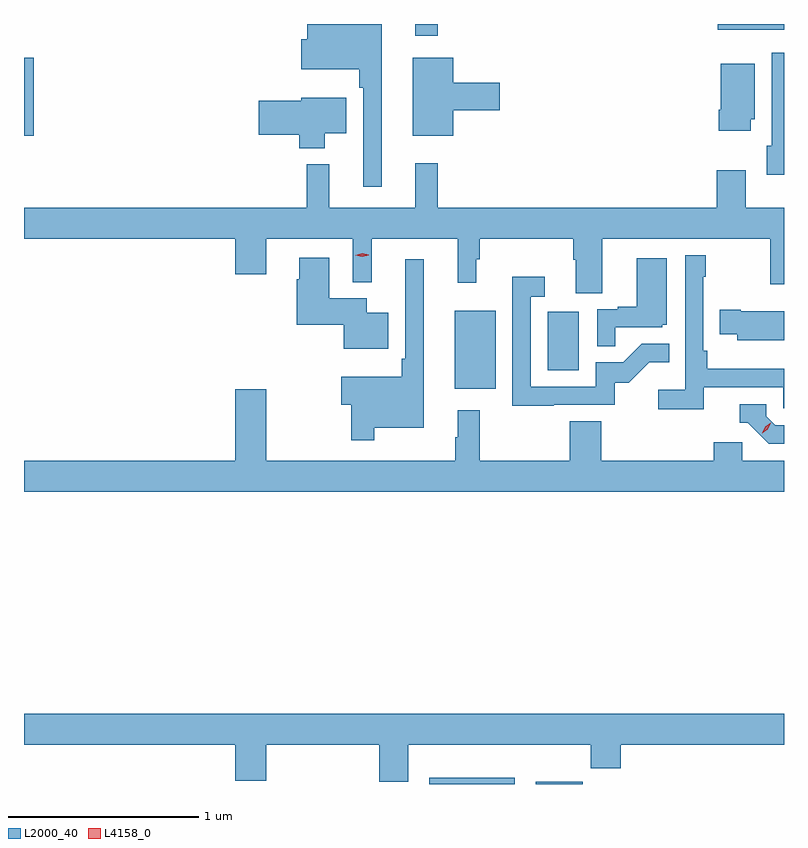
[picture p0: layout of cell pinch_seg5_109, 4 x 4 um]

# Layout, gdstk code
import gdstk
lib = gdstk.Library(unit=1e-6, precision=1e-09)
def R(c, l, rs):  # rectangles x0, y0, x1, y1
    for r in rs: c.add(gdstk.rectangle(r[:2], r[2:], *l))
def P(c, l, *ps):  # polygons
    for p in ps: c.add(gdstk.Polygon(p, *l))
L2000_40 = (2000, 40)
L4158_0 = (4158, 0)

pinch_seg5_109 = lib.new_cell('pinch_seg5_109')
R(pinch_seg5_109, L2000_40, [(1029.164,877.866,1029.616,877.9), (1029.725,877.866,1029.974,877.879), (1029.299,879.947,1029.514,880.357), (1029.788,880.044,1029.952,880.351), (1027.032,881.279,1027.084,881.689), (1029.092,881.805,1029.209,881.866), (1030.683,881.835,1031.032,881.866)])
P(pinch_seg5_109, L2000_40, [(1028.914,881.866),(1028.524,881.866),(1028.524,881.785),(1028.49,881.785),(1028.49,881.627),(1028.797,881.627),(1028.797,881.531),(1028.817,881.531),(1028.817,881.01),(1028.914,881.01)],
  [(1031.032,881.716),(1030.967,881.716),(1030.967,881.226),(1030.94,881.226),(1030.94,881.072),(1031.032,881.072)],
  [(1029.292,881.411),(1029.535,881.411),(1029.535,881.558),(1029.292,881.558),(1029.292,881.689),(1029.077,881.689),(1029.077,881.279),(1029.292,881.279)],
  [(1030.858,881.364),(1030.879,881.364),(1030.879,881.656),(1030.7,881.656),(1030.7,881.416),(1030.688,881.416),(1030.688,881.304),(1030.858,881.304)],
  [(1028.614,881.291),(1028.728,881.291),(1028.728,881.479),(1028.492,881.479),(1028.492,881.462),(1028.268,881.462),(1028.268,881.284),(1028.48,881.284),(1028.48,881.213),(1028.614,881.213)],
  [(1028.639,881.128),(1028.521,881.128),(1028.521,880.9),(1027.032,880.9),(1027.032,880.736),(1028.144,880.736),(1028.144,880.548),(1028.308,880.548),(1028.308,880.736),(1028.763,880.736),(1028.763,880.508),(1028.861,880.508),(1028.861,880.736),(1029.314,880.736),(1029.314,880.503),(1029.413,880.503),(1029.413,880.628),(1029.431,880.628),(1029.431,880.736),(1029.923,880.736),(1029.923,880.624),(1029.935,880.624),(1029.935,880.45),(1030.075,880.45),(1030.075,880.736),(1030.96,880.736),(1030.96,880.497),(1031.032,880.497),(1031.032,880.9),(1030.831,880.9),(1030.831,881.095),(1030.679,881.095),(1030.679,880.9),(1029.209,880.9),(1029.209,881.134),(1029.092,881.134),(1029.092,880.9),(1028.639,880.9)],
  [(1030.61,879.954),(1031.028,879.954),(1031.028,879.843),(1031.032,879.843),(1031.032,880.051),(1030.628,880.051),(1030.628,880.147),(1030.608,880.147),(1030.608,880.535),(1030.621,880.535),(1030.621,880.648),(1030.512,880.648),(1030.512,879.94),(1030.371,879.94),(1030.371,879.838),(1030.61,879.838)],
  [(1028.95,880.345),(1028.836,880.345),(1028.836,880.423),(1028.638,880.423),(1028.638,880.636),(1028.48,880.636),(1028.48,880.523),(1028.468,880.523),(1028.468,880.283),(1028.714,880.283),(1028.714,880.157),(1028.95,880.157)],
  [(1030.145,880.269),(1030.392,880.269),(1030.392,880.284),(1030.414,880.284),(1030.414,880.633),(1030.256,880.633),(1030.256,880.378),(1030.157,880.378),(1030.157,880.365),(1030.05,880.365),(1030.05,880.171),(1030.145,880.171)],
  [(1028.875,879.74),(1029.136,879.74),(1029.136,880.627),(1029.039,880.627),(1029.039,880.105),(1029.019,880.105),(1029.019,880.009),(1028.702,880.009),(1028.702,879.862),(1028.754,879.862),(1028.754,879.675),(1028.875,879.675)],
  [(1029.821,879.861),(1030.14,879.861),(1030.14,879.978),(1030.216,879.978),(1030.323,880.085),(1030.427,880.085),(1030.427,880.184),(1030.283,880.184),(1030.185,880.086),(1030.041,880.086),(1030.041,879.957),(1029.699,879.957),(1029.699,880.431),(1029.772,880.431),(1029.772,880.537),(1029.603,880.537),(1029.603,879.856),(1029.821,879.856)],
  [(1031.032,880.354),(1030.804,880.354),(1030.804,880.362),(1030.693,880.362),(1030.693,880.232),(1030.787,880.232),(1030.787,880.202),(1031.032,880.202)],
  [(1031.032,879.568),(1030.812,879.568),(1030.812,879.666),(1030.661,879.666),(1030.661,879.568),(1030.07,879.568),(1030.07,879.776),(1029.905,879.776),(1029.905,879.568),(1029.431,879.568),(1029.431,879.832),(1029.314,879.832),(1029.314,879.692),(1029.303,879.692),(1029.303,879.568),(1028.308,879.568),(1028.308,879.943),(1028.144,879.943),(1028.144,879.568),(1027.032,879.568),(1027.032,879.404),(1031.032,879.404)],
  [(1031.032,879.753),(1030.986,879.753),(1030.938,879.801),(1030.938,879.864),(1030.799,879.864),(1030.799,879.768),(1030.842,879.768),(1030.953,879.657),(1031.032,879.657)],
  [(1029.055,878.072),(1030.015,878.072),(1030.015,877.948),(1030.172,877.948),(1030.172,878.072),(1031.032,878.072),(1031.032,878.236),(1027.032,878.236),(1027.032,878.072),(1028.144,878.072),(1028.144,877.884),(1028.308,877.884),(1028.308,878.072),(1028.903,878.072),(1028.903,877.878),(1029.055,877.878)])
P(pinch_seg5_109, L4158_0, [(1030.917,879.713),(1030.917,879.713),(1030.932,879.746),(1030.962,879.767),(1030.962,879.767),(1030.962,879.766),(1030.947,879.733),(1030.917,879.713)],
  [(1028.811,880.64),(1028.775,880.649),(1028.775,880.649),(1028.775,880.649),(1028.811,880.66),(1028.847,880.651),(1028.847,880.65),(1028.847,880.65)])

lib.write_gds('pinch_seg5_109.gds')
